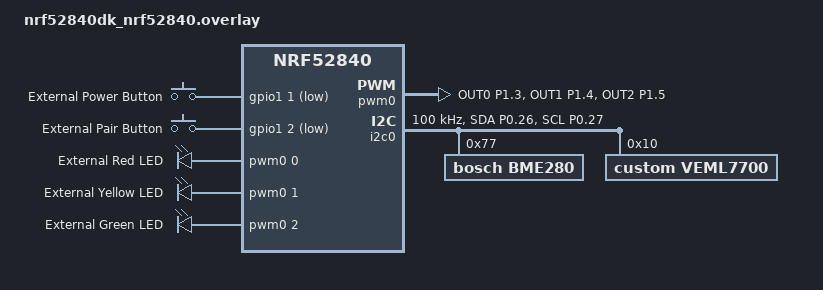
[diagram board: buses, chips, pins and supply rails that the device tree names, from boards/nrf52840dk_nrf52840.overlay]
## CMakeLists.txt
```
cmake_minimum_required(VERSION 3.20.0)

# Register the out-of-tree VEML7700 driver as a Zephyr module so its
# zephyr_library() is collected into ZEPHYR_LIBS during the module sweep,
# before Zephyr snapshots that list for the final link. A plain
# add_subdirectory() after project() registers the library too late.
list(APPEND ZEPHYR_EXTRA_MODULES ${CMAKE_CURRENT_SOURCE_DIR}/drivers/sensor/veml7700)

find_package(Zephyr REQUIRED HINTS $ENV{ZEPHYR_BASE})
project(sap)

target_sources(app PRIVATE 
    src/main.c 
    src/ble.c 
    src/probe.c
    src/diode.c 
    src/button.c
)

target_include_directories(app PRIVATE
    ${CMAKE_CURRENT_SOURCE_DIR}/include
)
```

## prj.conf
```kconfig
# Button
CONFIG_GPIO=y
CONFIG_INPUT=y

# LED
CONFIG_LED=y
CONFIG_PWM=y
CONFIG_LED_PWM=y

# Bluetooth
CONFIG_BT=y
CONFIG_BT_PERIPHERAL=y
CONFIG_BT_DEVICE_NAME="SAP"
CONFIG_BT_DEVICE_APPEARANCE=1362

# Sensor
CONFIG_I2C=y
CONFIG_SENSOR=y
CONFIG_SENSOR_ASYNC_API=y
CONFIG_RTIO=y

CONFIG_BME280=y
CONFIG_VEML7700=n
CONFIG_VEML7700_CUSTOM=y

# Power management
CONFIG_PM_DEVICE=y

# Kernel event objects for the main loop
CONFIG_EVENTS=y

CONFIG_LOG=y
CONFIG_CBPRINTF_FP_SUPPORT=y


# Enable for verbose output
# CONFIG_I2C_LOG_LEVEL_DBG=y

# CONFIG_SHELL=y

# Required for i2c scan
# CONFIG_I2C_SHELL=y

# Required for sensor get
# CONFIG_SENSOR_SHELL=y
```

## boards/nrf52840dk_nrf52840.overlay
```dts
/ {
    buttons: buttons {
        compatible = "gpio-keys";
        debounce-interval-ms = <30>;

        ext_button0: ext-button0 {
            gpios = <&gpio1 1 (GPIO_PULL_UP | GPIO_ACTIVE_LOW)>; /* P1.01 / D0 */
            label = "External Power Button";
            zephyr,code = <INPUT_KEY_0>;
        };

        ext_button1: ext-button1 {
            gpios = <&gpio1 2 (GPIO_PULL_UP | GPIO_ACTIVE_LOW)>; /* P1.02 / D1 */
            label = "External Pair Button";
            zephyr,code = <INPUT_KEY_1>;
        };
    };

    longpress: longpress {
        compatible = "zephyr,input-longpress";
        input = <&buttons>;

        input-codes = <INPUT_KEY_0>, <INPUT_KEY_1>;
        short-codes = <INPUT_KEY_A>, <INPUT_KEY_B>;
        long-codes = <INPUT_KEY_X>, <INPUT_KEY_Y>;

        long-delay-ms = <1500>;
    };

    pwmleds {
        compatible = "pwm-leds";

        ext_red_led: ext-red-led {
            pwms = <&pwm0 0 PWM_USEC(1000) PWM_POLARITY_NORMAL>; /* P1.03 / D2 */
            label = "External Red LED";
        };

        ext_yellow_led: ext-yellow-led {
            pwms = <&pwm0 1 PWM_USEC(1000) PWM_POLARITY_NORMAL>; /* P1.04 / D3 */
            label = "External Yellow LED";
        };

        ext_green_led: ext-green-led {
            pwms = <&pwm0 2 PWM_USEC(1000) PWM_POLARITY_NORMAL>; /* P1.05 / D4 */
            label = "External Green LED";
        };
    };
};

&gpio1 {
    status = "okay";
};


&pwm0 {
    status = "okay";

    pinctrl-names = "default", "sleep";
    pinctrl-0 = <&pwm0_default>;
    pinctrl-1 = <&pwm0_sleep>;
};


&i2c0 {
    status = "okay";
    clock-frequency = <I2C_BITRATE_STANDARD>;

    pinctrl-names = "default", "sleep";
    pinctrl-0 = <&i2c0_default>;
    pinctrl-1 = <&i2c0_sleep>;

    bme280: bme280@77 {
        status = "okay";
        compatible = "bosch,bme280";
        reg = <0x77>;
    };

    veml7700: veml7700@10 {
        status = "okay";
        compatible = "custom,veml7700";
        reg = <0x10>;
        psm-mode = <0x00>;
    };
};

&pinctrl {
    pwm0_default: pwm0_default {
        group1 {
            psels = <NRF_PSEL(PWM_OUT0, 1, 3)>, /* P1.03 / D2 */
                    <NRF_PSEL(PWM_OUT1, 1, 4)>, /* P1.04 / D3 */
                    <NRF_PSEL(PWM_OUT2, 1, 5)>; /* P1.05 / D4 */
        };
    };

    pwm0_sleep: pwm0_sleep {
        group1 {
            psels = <NRF_PSEL(PWM_OUT0, 1, 3)>,
                    <NRF_PSEL(PWM_OUT1, 1, 4)>,
                    <NRF_PSEL(PWM_OUT2, 1, 5)>;
            low-power-enable;
        };
    };

    i2c0_default: i2c0_default {
        group1 {
            psels = <NRF_PSEL(TWIM_SDA, 0, 26)>, <NRF_PSEL(TWIM_SCL, 0, 27)>;
        };
    };

    i2c0_sleep: i2c0_sleep {
        group1 {
            psels = <NRF_PSEL(TWIM_SDA, 0, 26)>, <NRF_PSEL(TWIM_SCL, 0, 27)>;
            low-power-enable;
        };
    };
};
```

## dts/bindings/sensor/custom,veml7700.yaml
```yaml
# Copyright (c) 2023 Andreas Kilian
# SPDX-License-Identifier: Apache-2.0

description: |
    Vishay VEML7700 High Accuracy Ambient Light Sensor With I2C Interface.
    Custom out-of-tree driver. See: https://www.vishay.com/doc?84286

compatible: "custom,veml7700"

include: [sensor-device.yaml, i2c-device.yaml]

properties:
  psm-mode:
    type: int
    default: 0x00
    description: |
      Power saving mode as described in the datasheet on page 8.
      The initial power on register value for the PSM register is 0
      (power saving mode is disabled) which is the default value.
      Possible values are:
        0x00 = Disable power saving mode
        0x01 = Mode 1 (0001b)
        0x03 = Mode 2 (0011b)
        0x05 = Mode 3 (0101b)
        0x07 = Mode 4 (0111b)
    enum:
      - 0x00
      - 0x01
      - 0x03
      - 0x05
      - 0x07
```

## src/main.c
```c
#include "app_error.h"
#include "app_state.h"
#include "ble.h"
#include "button.h"
#include "diode.h"
#include "probe.h"

#include <stdio.h>

#include <zephyr/kernel.h>
#include <zephyr/logging/log.h>

LOG_MODULE_REGISTER(app, LOG_LEVEL_INF);

void app_handle_state(app_state_t state);
void app_handle_error(void);

static app_state_t app_state = APP_STATE_INVALID;
static app_error_t app_error = APP_ERROR_NONE;
/*
  TODO: Retry counter for error handling
static int error_retry = 0;
*/
app_state_t app_get_state(void) { return app_state; }
app_error_t app_get_error(void) { return app_error; }

static K_EVENT_DEFINE(state_event);

void event_standby(void) {
  int err;

  err = ble_adv_stop();
  if (err != 0) {
    app_set_error(APP_ERROR_FATAL);
  }

  err = ble_suspend();
  if (err != 0) {
    app_set_error(APP_ERROR_FATAL);
  }

  err = probes_suspend();
  if (err != 0) {
    app_set_error(APP_ERROR_FATAL);
  }
}

void event_wake(void) {
  int err;

  err = diodes_init();
  if (err != 0) {
    app_set_error(APP_ERROR_FATAL);
  }

  err = buttons_init();
  if (err != 0) {
    app_set_error(APP_ERROR_FATAL);
  }

  err = probes_init();
  if (err != 0) {
    app_set_error(APP_ERROR_SENSOR_INIT);
  }

  err = ble_init();
  if (err != 0) {
    app_set_error(APP_ERROR_BLE_INIT);
  }

  app_set_state(APP_STATE_BACKGROUND);
}

/*
    Runs one sampling pass while unpaired
*/
void event_background(void) {
  int err;
  reading_t r;

  err = read_air_probe(&r);
  if (err != 0) {
    LOG_WRN("BME280 read failed: %d", err);
  }

  err = read_light_probe(&r);
  if (err != 0) {
    LOG_WRN("VEML7700 read failed: %d", err);
  }
}

/*
    Runs one sampling pass and publishes the reading over BLE
*/
void event_paired(void) {
  int err;
  char msg[96];
  reading_t r;

  err = read_air_probe(&r);
  if (err != 0) {
    LOG_WRN("BME280 read failed: %d", err);
  }

  err = read_light_probe(&r);
  if (err != 0) {
    LOG_WRN("VEML7700 read failed: %d", err);
  }

  /*
    Budget JSON serializer
  */
  snprintf(msg, sizeof(msg), "{\"t\":%.1f,\"p\":%.1f,\"h\":%.1f,\"l\":%1f}",
           (double)r.temp, (double)r.pres, (double)r.humi, (double)r.lux);

  ble_set_reading(msg);
}

/*
  Updates app state based on external triggers
*/
void app_set_state(app_state_t state) {
  if (state == app_state) {
    return;
  }

  app_state = state;

  diode_set_state(state);
  app_handle_state(state);

  k_event_post(&state_event, 1);
}

void app_handle_state(app_state_t state) {
  switch (state) {
  case APP_STATE_ERROR:
    app_handle_error();
    break;

  case APP_STATE_STANDBY:
    event_standby();
    break;

  case APP_STATE_WAKING:
    event_wake();
    break;

  case APP_STATE_BACKGROUND:
    ble_adv_stop();
    break;

  case APP_STATE_PAIRING:
    ble_adv_start();
    break;

  case APP_STATE_PAIRED:
    ble_adv_stop();
    break;

  default:
    break;
  }
}

void app_set_error(app_error_t err) {
  app_error = err;

  if (err != APP_ERROR_NONE) {
    app_set_state(APP_STATE_ERROR);
  }
}

/*
    TODO: Error handling scaffold
    Write after bt gatt
*/
void app_handle_error(void) {
  switch (app_error) {
  case APP_ERROR_SENSOR_INIT:
    break;

  case APP_ERROR_BLE_INIT:
    break;

  default:
    break;
  }

  app_error = APP_ERROR_NONE;
  app_set_state(APP_STATE_BACKGROUND);
}

int main(void) {
  app_set_state(APP_STATE_WAKING);

  while (1) {
    switch (app_get_state()) {
    case APP_STATE_BACKGROUND:
      event_background();
      k_event_wait(&state_event, 1, true, K_MSEC(200));
      break;

    case APP_STATE_PAIRED:
      event_paired();
      k_event_wait(&state_event, 1, true, K_MSEC(200));
      break;

    default:
      k_event_wait(&state_event, 1, true, K_FOREVER);
      break;
    }
  }

  return 0;
}
```

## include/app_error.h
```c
#ifndef APP_ERROR_H
#define APP_ERROR_H

typedef enum {
  APP_ERROR_NONE,
  APP_ERROR_SENSOR_INIT,
  APP_ERROR_SENSOR_READ,
  APP_ERROR_BLE_INIT,
  APP_ERROR_BLE_ADVERTISING,
  APP_ERROR_BLE_CONNECTION,
  APP_ERROR_FATAL,
} app_error_t;

void app_set_error(app_error_t err);
app_error_t app_get_error(void);

#endif
```

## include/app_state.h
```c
#ifndef APP_STATE_H
#define APP_STATE_H

/*
  Central app state that drives
*/
typedef enum {
  /* Shutdown mode */
  APP_STATE_INVALID = -1,
  /* Inactive mode */
  APP_STATE_STANDBY,
  /* Restoring sensors, ble, timers */
  APP_STATE_WAKING,
  /* Running normally unpaired */
  APP_STATE_BACKGROUND,
  /* Advertising/pairing mode */
  APP_STATE_PAIRING,
  /* Running normally paired */
  APP_STATE_PAIRED,
  /* Fault State */
  APP_STATE_ERROR,
} app_state_t;

void app_set_state(app_state_t state);
app_state_t app_get_state(void);

#endif
```

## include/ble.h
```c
#ifndef BLE_H
#define BLE_H

int ble_init(void);
int ble_suspend(void);
int ble_set_reading(const char *str);
int ble_adv_start(void);
int ble_adv_stop(void);

#endif
```

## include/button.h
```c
#ifndef BUTTON_H
#define BUTTON_H

int buttons_init(void);

#endif
```

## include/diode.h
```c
#ifndef DIODE_H
#define DIODE_H

#include "app_state.h"

int diodes_init(void);
void diode_set_state(app_state_t state);

#endif
```

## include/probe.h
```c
#ifndef PROBE_H
#define PROBE_H

#include <stdint.h>

typedef struct reading_t {
  int64_t timestamp_ms;
  float temp;
  float pres;
  float humi;
  float lux;
} reading_t;

int probes_init(void);
int probes_suspend(void);

int read_air_probe(reading_t *);
int read_light_probe(reading_t *);

#endif
```

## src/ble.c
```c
#include "ble.h"
#include "app_error.h"
#include "app_state.h"

#include <stdbool.h>
#include <stdint.h>
#include <stdio.h>
#include <string.h>

#include <zephyr/bluetooth/addr.h>
#include <zephyr/bluetooth/bluetooth.h>
#include <zephyr/bluetooth/conn.h>
#include <zephyr/bluetooth/gap.h>
#include <zephyr/bluetooth/gatt.h>
#include <zephyr/bluetooth/hci.h>
#include <zephyr/bluetooth/uuid.h>

#include <zephyr/kernel.h>
#include <zephyr/logging/log.h>

LOG_MODULE_REGISTER(bluetooth, LOG_LEVEL_INF);

/*
  UUIDs:
  Service: 27b396da-a5b5-4f97-995e-a798427620b0
  Reading: 27b396da-a5b5-4f97-995e-a798427620b1
*/
#define BT_UUID_SERVICE_VAL                                                    \
  0xb0, 0x20, 0x76, 0x42, 0x98, 0xa7, 0x5e, 0x99, 0x97, 0x4f, 0xb5, 0xa5,      \
      0xda, 0x96, 0xb3, 0x27

#define BT_UUID_READING_VAL                                                    \
  0xb1, 0x20, 0x76, 0x42, 0x98, 0xa7, 0x5e, 0x99, 0x97, 0x4f, 0xb5, 0xa5,      \
      0xda, 0x96, 0xb3, 0x27

#define DEVICE_UUID_SERVICE BT_UUID_DECLARE_128(BT_UUID_SERVICE_VAL)
#define DEVICE_UUID_READING BT_UUID_DECLARE_128(BT_UUID_READING_VAL)

#define DEVICE_NAME CONFIG_BT_DEVICE_NAME
#define DEVICE_NAME_LEN (sizeof(DEVICE_NAME) - 1)

/*
  Appearance:
  Multi-sensor: 0x0556
*/
#define DEVICE_APPEARANCE BT_APPEARANCE_MULTISENSOR

/* Advertising data */
static const struct bt_data ad[] = {
    BT_DATA_BYTES(BT_DATA_FLAGS, (BT_LE_AD_GENERAL | BT_LE_AD_NO_BREDR)),

    BT_DATA_BYTES(BT_DATA_GAP_APPEARANCE, (DEVICE_APPEARANCE >> 0) & 0xff,
                  (DEVICE_APPEARANCE >> 8) & 0xff),
};

/* Scan data */
static const struct bt_data sd[] = {
    BT_DATA_BYTES(BT_DATA_UUID128_ALL, BT_UUID_SERVICE_VAL),
    BT_DATA(BT_DATA_NAME_COMPLETE, DEVICE_NAME, DEVICE_NAME_LEN),
};

/* Active connection reference and notification subscription state */
static struct bt_conn *ble_conn;
static bool can_notify;

/* Latest reading exposed over GATT, guarded by mutex */
static char current[96] = "No reading";
K_MUTEX_DEFINE(current_lock);

/*
    Enables the Bluetooth stack during startup
*/
int ble_init(void) {
  int err = bt_enable(NULL);
  if (err != 0) {
    app_set_error(APP_ERROR_BLE_INIT);
    LOG_ERR("Bluetooth enable failed: %d", err);
    return err;
  }

  LOG_INF("Bluetooth init success");

  return 0;
}

int ble_suspend(void) {
  if (!bt_is_ready()) {
    return 0;
  }

  if (ble_conn != NULL) {
    bt_conn_unref(ble_conn);
    ble_conn = NULL;
  }

  can_notify = false;

  int err = bt_disable();
  if (err != 0) {
    LOG_ERR("Bluetooth disable failed: %d", err);
    return err;
  }

  return 0;
}

/*
    Creates a fixed random static identity address for the device
*/
int generate_addr(void) {
  bt_addr_le_t addr;
  int err;

  err = bt_addr_le_from_str("FF:EE:DD:CC:BB:AA", "random", &addr);
  if (err != 0) {
    LOG_ERR("Invalid address: %d", err);
    return 1;
  }

  err = bt_id_create(&addr, NULL);
  if (err < 0) {
    LOG_ERR("Invalid id: %d", err);
    return 1;
  }

  return 0;
}

/*
    Starts connectable advertising from the system workqueue
*/
static void adv_work_handler(struct k_work *work) {
  ARG_UNUSED(work);

  int err = bt_le_adv_start(BT_LE_ADV_CONN_FAST_1, ad, ARRAY_SIZE(ad), sd,
                            ARRAY_SIZE(sd));

  if (err == -EALREADY) {
    LOG_INF("Bluetooth advertising already active");
    return;
  }

  if (err != 0) {
    app_set_error(APP_ERROR_BLE_ADVERTISING);
    LOG_ERR("Bluetooth advertising failed: %d", err);
    return;
  }

  LOG_INF("Bluetooth advertising started");
}

static K_WORK_DELAYABLE_DEFINE(adv_work, adv_work_handler);

int ble_adv_start(void) { return k_work_schedule(&adv_work, K_NO_WAIT); }

/*
    Cancels pending advertising work and stops any active advertising
*/
int ble_adv_stop(void) {
  int err;

  k_work_cancel_delayable(&adv_work);

  err = bt_le_adv_stop();
  if (err != 0 && err != -EALREADY && err != -EINVAL) {
    LOG_ERR("Bluetooth advertising failed while stopping: %d", err);
    return err;
  }

  LOG_INF("Bluetooth advertising stopped");

  return 0;
}

/*
    Keeps a reference to the new connection and reports the result
*/
static void connected(struct bt_conn *conn, uint8_t hci_err) {
  if (hci_err != 0) {
    app_set_error(APP_ERROR_BLE_CONNECTION);
    LOG_ERR("Bluetooth connection failed: %s", bt_hci_err_to_str(hci_err));
    return;
  }

  ble_conn = bt_conn_ref(conn);

  app_set_state(APP_STATE_PAIRED);
  LOG_INF("Bluetooth connected");
}

/*
    Releases the connection reference and disables notifications
*/
static void disconnected(struct bt_conn *conn, uint8_t msg) {
  if (ble_conn != NULL) {
    bt_conn_unref(ble_conn);
    ble_conn = NULL;
  }

  can_notify = false;

  app_state_t state = app_get_state();
  if (state == APP_STATE_PAIRED || state == APP_STATE_PAIRING) {
    app_set_state(APP_STATE_BACKGROUND);
  }
  LOG_INF("Bluetooth disconnected");
}

BT_CONN_CB_DEFINE(conn_callbacks) = {
    .connected = connected,
    .disconnected = disconnected,
};

static ssize_t ble_reading(struct bt_conn *conn,
                           const struct bt_gatt_attr *attr, void *buf,
                           uint16_t len, uint16_t offset) {
  char copy[sizeof(current)];

  k_mutex_lock(&current_lock, K_FOREVER);
  snprintf(copy, sizeof(copy), "%s", current);
  k_mutex_unlock(&current_lock);

  return bt_gatt_attr_read(conn, attr, buf, len, offset, copy, strlen(copy));
}

/*
  Track client subscription to notifications
*/
static void ble_ccc_changed(const struct bt_gatt_attr *attr, uint16_t value) {
  can_notify = (value == BT_GATT_CCC_NOTIFY);
}

/*
  Define gatt service as:

*/
BT_GATT_SERVICE_DEFINE(
    ble_svc, BT_GATT_PRIMARY_SERVICE(DEVICE_UUID_SERVICE),

    BT_GATT_CHARACTERISTIC(DEVICE_UUID_READING,
                           BT_GATT_CHRC_READ | BT_GATT_CHRC_NOTIFY,
                           BT_GATT_PERM_READ, ble_reading, NULL, NULL),

    BT_GATT_CCC(ble_ccc_changed, BT_GATT_PERM_READ | BT_GATT_PERM_WRITE));

int ble_set_reading(const char *str) {
  k_mutex_lock(&current_lock, K_FOREVER);
  snprintf(current, sizeof(current), "%s", str);
  k_mutex_unlock(&current_lock);

  if (can_notify && ble_conn != NULL) {
    return bt_gatt_notify(ble_conn, &ble_svc.attrs[2], current,
                          strlen(current));
  }

  return 0;
}
```

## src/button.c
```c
#include "button.h"
#include "app_state.h"

#include <errno.h>

#include <zephyr/device.h>
#include <zephyr/input/input.h>
#include <zephyr/logging/log.h>

LOG_MODULE_REGISTER(buttons, LOG_LEVEL_INF);

#define LONGPRESS_NODE DT_PATH(longpress)

/* Pointer to button input device reference */
static const struct device *const btns = DEVICE_DT_GET(LONGPRESS_NODE);

/*
    Maps button presses to app state transitions
*/
static void input_cb(struct input_event *evt, void *user_data) {
  ARG_UNUSED(user_data);

  if (!evt->sync) {
    return;
  }

  /* Ignore non key events */
  if (evt->type != INPUT_EV_KEY) {
    return;
  }

  /* Ignore release values */
  if (evt->value == 0) {
    return;
  }

  app_state_t state = app_get_state();

  switch (evt->code) {
  /* Toggles between standby and active operation */
  case INPUT_KEY_X:
    if (state == APP_STATE_STANDBY) {
      app_set_state(APP_STATE_WAKING);
    } else {
      app_set_state(APP_STATE_STANDBY);
    }
    break;

  /* Toggles pairing mode while active */
  case INPUT_KEY_Y:
    if (state == APP_STATE_BACKGROUND) {
      app_set_state(APP_STATE_PAIRING);
    } else if (state == APP_STATE_PAIRING) {
      app_set_state(APP_STATE_BACKGROUND);
    }
    break;

  default:
    break;
  }
}

INPUT_CALLBACK_DEFINE(DEVICE_DT_GET(LONGPRESS_NODE), input_cb, NULL);

/*
    Ensure button input device is operational during startup
*/
int buttons_init(void) {
  if (!device_is_ready(btns)) {
    LOG_ERR("Button input device not ready");
    return -ENODEV;
  }

  LOG_INF("Button input ready");
  return 0;
}
```

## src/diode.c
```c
#include "diode.h"

#include <errno.h>
#include <stdbool.h>
#include <stdint.h>

#include <zephyr/device.h>
#include <zephyr/drivers/pwm.h>
#include <zephyr/kernel.h>
#include <zephyr/logging/log.h>
#include <zephyr/sys/util.h>

LOG_MODULE_REGISTER(diodes, LOG_LEVEL_INF);

#define PWM_PERIOD PWM_USEC(1000) /* 1 kHz */

#define RED_DIODE DT_NODELABEL(ext_red_led)
#define YELLOW_DIODE DT_NODELABEL(ext_yellow_led)
#define GREEN_DIODE DT_NODELABEL(ext_green_led)

/* PWM channel references per diode */
static const struct pwm_dt_spec pwm_red = PWM_DT_SPEC_GET(RED_DIODE);
static const struct pwm_dt_spec pwm_yel = PWM_DT_SPEC_GET(YELLOW_DIODE);
static const struct pwm_dt_spec pwm_gre = PWM_DT_SPEC_GET(GREEN_DIODE);

/* App state mirrored for the blink work handler */
static app_state_t diode_state = APP_STATE_STANDBY;
static bool blink_state;

static void diode_work_handler(struct k_work *work);
static K_WORK_DELAYABLE_DEFINE(diode_work, diode_work_handler);

/*
    Sets diode brightness as PWM duty cycle percentage
*/
static int diode_set_percent(const struct pwm_dt_spec *pwm, uint8_t pct) {
  if (pct > 100) {
    pct = 100;
  }

  uint32_t pulse = (PWM_PERIOD * pct) / 100;

  int err = pwm_set_dt(pwm, PWM_PERIOD, pulse);
  if (err) {
    LOG_ERR("PWM set failed for %s channel %u: %d", pwm->dev->name,
            pwm->channel, err);
    return err;
  }

  return 0;
}

static int light_diode(const struct pwm_dt_spec *pwm) {
  return diode_set_percent(pwm, 100);
}

/* Unused for now

static int dim_diode(const struct pwm_dt_spec *pwm) {
  return diode_set_percent(pwm, 20);
}
*/

static int halt_diode(const struct pwm_dt_spec *pwm) {
  return diode_set_percent(pwm, 0);
}

static void all_off(void) {
  halt_diode(&pwm_red);
  halt_diode(&pwm_yel);
  halt_diode(&pwm_gre);
}

static bool pwm_check(const struct pwm_dt_spec *pwm) {
  if (!pwm_is_ready_dt(pwm)) {
    LOG_ERR("PWM device %s not ready", pwm->dev->name);
    return false;
  }

  LOG_INF("Found PWM device %s channel %u", pwm->dev->name, pwm->channel);
  return true;
}

/*
    Ensure all diode PWM channels are operational during startup
*/
int diodes_init(void) {
  if (!pwm_check(&pwm_red) || !pwm_check(&pwm_yel) || !pwm_check(&pwm_gre)) {
    return -ENODEV;
  }

  all_off();
  diode_set_state(APP_STATE_BACKGROUND);

  return 0;
}

/*
    Maps app state to diode pattern. Solid states are set directly,
    blinking states are delegated to the blink work handler
*/
void diode_set_state(app_state_t state) {
  diode_state = state;
  blink_state = false;

  /* Reset blinking state */
  k_work_cancel_delayable(&diode_work);

  switch (state) {
  case APP_STATE_STANDBY:
    light_diode(&pwm_red);
    halt_diode(&pwm_yel);
    halt_diode(&pwm_gre);
    break;

  case APP_STATE_WAKING:
    all_off();
    k_work_schedule(&diode_work, K_NO_WAIT);
    break;

  case APP_STATE_BACKGROUND:
    halt_diode(&pwm_red);
    light_diode(&pwm_yel);
    halt_diode(&pwm_gre);
    break;

  case APP_STATE_PAIRING:
    all_off();
    k_work_schedule(&diode_work, K_NO_WAIT);
    break;

  case APP_STATE_PAIRED:
    halt_diode(&pwm_red);
    halt_diode(&pwm_yel);
    light_diode(&pwm_gre);
    break;

  case APP_STATE_ERROR:
    all_off();
    k_work_schedule(&diode_work, K_NO_WAIT);
    break;

  default:
    all_off();
    break;
  }
}

/*
    Toggles the blinking diode for the current state and reschedules itself
*/
static void diode_work_handler(struct k_work *work) {
  ARG_UNUSED(work);

  blink_state = !blink_state;

  switch (diode_state) {
  case APP_STATE_WAKING:
    halt_diode(&pwm_red);
    diode_set_percent(&pwm_yel, blink_state ? 100 : 0);
    halt_diode(&pwm_gre);
    break;

  case APP_STATE_PAIRING:
    halt_diode(&pwm_red);
    halt_diode(&pwm_yel);
    diode_set_percent(&pwm_gre, blink_state ? 100 : 0);
    break;

  case APP_STATE_ERROR:
    diode_set_percent(&pwm_red, blink_state ? 100 : 0);
    halt_diode(&pwm_yel);
    halt_diode(&pwm_gre);
    break;

  default:
    all_off();
    return;
  }

  k_work_schedule(&diode_work, K_MSEC(250));
}
```

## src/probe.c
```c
#include "probe.h"

#include <errno.h>
#include <math.h>
#include <stdint.h>

#include <zephyr/device.h>
#include <zephyr/devicetree.h>
#include <zephyr/drivers/sensor.h>
#include <zephyr/drivers/sensor_data_types.h>
#include <zephyr/logging/log.h>
#include <zephyr/pm/device.h>

LOG_MODULE_REGISTER(sensors, LOG_LEVEL_INF);

/* Air sensor buffer size value */
#define BUFFER_SIZE 128

#define AIR_NODE DT_NODELABEL(bme280)
#define LIGHT_NODE DT_NODELABEL(veml7700)

/*
  Instatiate air sensor read instance for air channels
*/
SENSOR_DT_READ_IODEV(iodev_air, AIR_NODE, {SENSOR_CHAN_AMBIENT_TEMP, 0},
                     {SENSOR_CHAN_PRESS, 0}, {SENSOR_CHAN_HUMIDITY, 0});

SENSOR_DT_READ_IODEV(iodev_light, LIGHT_NODE, {SENSOR_CHAN_LIGHT, 0});

RTIO_DEFINE(ctx, 1, 1);

/* Pointer to device reference */
const struct device *const dev_air = DEVICE_DT_GET(AIR_NODE);
const struct device *const dev_light = DEVICE_DT_GET(LIGHT_NODE);

/*
  Sets power management state to active
*/
static int device_resume(const struct device *dev) {
  int err = pm_device_action_run(dev, PM_DEVICE_ACTION_RESUME);
  switch (err) {
  case 0:
    LOG_INF("Device %s resumed", dev->name);
    return 0;

  case -EALREADY:
    LOG_WRN("Device %s already resumed", dev->name);
    return 0;

  case -EBUSY:
    LOG_ERR("Device %s busy", dev->name);
    return err;

  case -EPERM:
    LOG_ERR("Device %s PM locked", dev->name);
    return err;

  case -ENOSYS:
    LOG_ERR("Device %s does not implement PM", dev->name);
    return err;

  default:
    return err;
  }
}

static bool device_check(const struct device *dev) {
  if (!device_is_ready(dev)) {
    LOG_ERR("Device %s not ready", dev->name);
    return false;
  }

  LOG_INF("Found device %s", dev->name);
  return true;
}

/*
    Ensure both sensors are operational during startup
*/
int probes_init(void) {
  int err;

  if (!device_check(dev_air) || !device_check(dev_light)) {
    return -ENODEV;
  }

  err = device_resume(dev_air);
  if (err != 0) {
    return err;
  }

  err = device_resume(dev_light);
  if (err != 0) {
    return err;
  }

  return 0;
}

/*
  Sets power management state to lower power
*/
static int device_suspend(const struct device *dev) {
  int err = pm_device_action_run(dev, PM_DEVICE_ACTION_SUSPEND);
  switch (err) {
  case 0:
    LOG_INF("Device %s suspended", dev->name);
    return 0;

  case -EALREADY:
    LOG_WRN("Device %s already suspended", dev->name);
    return 0;

  case -EBUSY:
    LOG_ERR("Device %s busy", dev->name);
    return err;

  case -EPERM:
    LOG_ERR("Device %s PM locked", dev->name);
    return err;

  case -ENOSYS:
    LOG_ERR("Device %s does not implement PM", dev->name);
    return err;

  default:
    return err;
  }
}

int probes_suspend(void) {
  int err;

  err = device_suspend(dev_air);
  if (err != 0) {
    return err;
  }

  err = device_suspend(dev_light);
  if (err != 0) {
    return err;
  }

  return 0;
}

/*
    Decodes single channel from sensor buffer and converts value to float
*/
static int decode_channel(const struct sensor_decoder_api *decoder,
                          const uint8_t *buf, enum sensor_channel ch,
                          float *out) {
  /*
    * Frame iterator reset to first frame

    * Union of sensor data initialized

    * Channel specification defined (index 0 for single axis measurements)
  */
  uint32_t frame = 0;
  struct sensor_q31_data data = {0};
  struct sensor_chan_spec spec = {
      .chan_type = ch,
      .chan_idx = 0,
  };

  int n = decoder->decode(buf, spec, &frame, 1, &data);

  if (n < 0) {
    LOG_ERR("decode failed for channel %d: %d", ch, n);
    return n;
  }

  if (n == 0) {
    LOG_WRN("no frame for channel %d", ch);
    return -ENODATA;
  }

  /* Fixed to floating point conversion */
  *out = ldexpf((float)data.readings[0].value, data.shift - 31);

  return 0;
}

/*
    Reads and decodes a single sample from the bme280 sensor
*/
int read_air_probe(reading_t *out) {
  uint8_t buf[BUFFER_SIZE];

  /* Sensor read into buffer */
  int err = sensor_read(&iodev_air, &ctx, buf, BUFFER_SIZE);
  if (err != 0) {
    LOG_ERR("Device: %s read failed", dev_air->name);
    return err;
  }

  /* Fetching of decoder api */
  const struct sensor_decoder_api *decoder;
  err = sensor_get_decoder(dev_air, &decoder);
  if (err != 0) {
    LOG_ERR("Device: %s get decoder failed", dev_air->name);
    return err;
  }

  reading_t tmp = {0};
  /*
    Sensor channel read and decoded. Assigned to reading_t fields in temporary
    struct
  */
  err = decode_channel(decoder, buf, SENSOR_CHAN_AMBIENT_TEMP, &tmp.temp);
  if (err != 0) {
    LOG_ERR("Device %s temperature decode failed: %d", dev_air->name, err);
    return err;
  }

  err = decode_channel(decoder, buf, SENSOR_CHAN_PRESS, &tmp.pres);
  if (err != 0) {
    LOG_ERR("Device %s pressure decode failed: %d", dev_air->name, err);
    return err;
  }

  err = decode_channel(decoder, buf, SENSOR_CHAN_HUMIDITY, &tmp.humi);
  if (err != 0) {
    LOG_ERR("Device %s humidity decode failed: %d", dev_air->name, err);
    return err;
  }

  *out = tmp;

  return 0;
}

/*
    Reads and decodes a single lux sample from the veml7700 sensor
*/
int read_light_probe(reading_t *out) {
  uint8_t buf[BUFFER_SIZE];

  /* Sensor read into buffer */
  int err = sensor_read(&iodev_light, &ctx, buf, BUFFER_SIZE);
  if (err != 0) {
    LOG_ERR("Device: %s read failed", dev_light->name);
    return err;
  }

  /* Fetching of decoder api */
  const struct sensor_decoder_api *decoder;
  err = sensor_get_decoder(dev_light, &decoder);
  if (err != 0) {
    LOG_ERR("Device: %s get decoder failed", dev_light->name);
    return err;
  }

  /* Light channel read and decoded to float lux */
  err = decode_channel(decoder, buf, SENSOR_CHAN_LIGHT, &out->lux);
  if (err != 0) {
    LOG_ERR("Device %s light decode failed: %d", dev_light->name, err);
    return err;
  }

  return 0;
}
```

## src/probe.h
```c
#ifndef PROBE_H
#define PROBE_H

#include <stdint.h>
#include <time.h>

typedef struct reading {
  int64_t timestamp_ms;
  float temp;
  float pres;
  float humi;
  uint32_t lux;
} reading;

int sensors_init(void);

int read_air_probe(reading *);
int read_light_probe(reading *);

#endif
```
